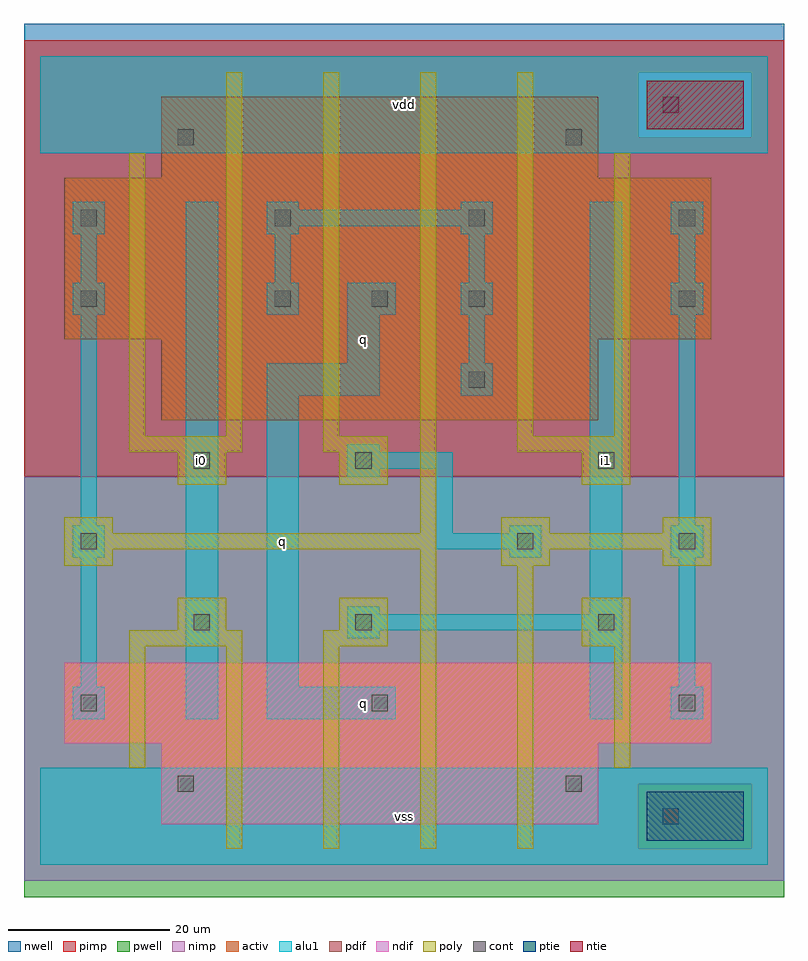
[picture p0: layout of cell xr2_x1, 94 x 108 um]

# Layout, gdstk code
import gdstk
lib = gdstk.Library(unit=1e-6, precision=1e-09)
def R(c, l, rs):  # rectangles x0, y0, x1, y1
    for r in rs: c.add(gdstk.rectangle(r[:2], r[2:], *l))
def A(c, l, x, y, w, h, nx, ny, dx, dy):  # array of equal rectangles
    R(c, l, [(x+i*dx, y+j*dy, x+i*dx+w, y+j*dy+h) for i in range(nx) for j in range(ny)])
ndif = (3, 0)
pdif = (4, 0)
ntie = (5, 0)
ptie = (6, 0)
cont = (25, 0)
pwell = (41, 0)
nwell = (42, 0)
activ = (43, 0)
pimp = (44, 0)
nimp = (45, 0)
poly = (46, 0)
alu1 = (49, 0)

xr2_x1 = lib.new_cell('xr2_x1')
R(xr2_x1, ndif, [(15,5,69,15), (3,15,83,25)])
R(xr2_x1, pdif, [(15,55,69,65), (3,65,83,85), (15,85,69,95)])
R(xr2_x1, ntie, [(75,91,87,97)])
R(xr2_x1, ptie, [(75,3,87,9)])
A(xr2_x1, cont, 29, 69, 2, 2, 3, 1, 12, 0)
A(xr2_x1, cont, 5, 79, 2, 2, 3, 1, 24, 0)
R(xr2_x1, cont, [(77,5,79,7), (17,9,19,11), (65,9,67,11), (5,19,7,21), (41,19,43,21), (79,19,81,21), (19,29,21,31), (39,29,41,31), (69,29,71,31), (5,39,7,41), (59,39,61,41), (79,39,81,41), (19,49,21,51), (39,49,41,51), (69,49,71,51), (53,59,55,61), (5,69,7,71), (79,69,81,71), (79,79,81,81), (17,89,19,91), (65,89,67,91), (77,93,79,95)])
R(xr2_x1, pwell, [(-2,-4,92,48)])
R(xr2_x1, nwell, [(-2,48,92,104)])
R(xr2_x1, activ, [(75,3,87,9), (15,5,69,15), (3,15,83,25), (15,55,69,65), (3,65,83,85), (15,85,69,95), (75,91,87,97)])
R(xr2_x1, pimp, [(74,2,88,10), (-2,48,92,90), (-2,90,74,98), (88,90,92,98), (-2,98,92,102)])
R(xr2_x1, nimp, [(-2,-2,92,2), (-2,2,74,10), (88,2,92,10), (-2,10,92,48), (74,90,88,98)])
R(xr2_x1, poly, [(23,2,25,27), (35,2,37,27), (47,2,49,39), (59,2,61,37), (11,12,13,27), (71,12,73,27), (11,27,25,29), (35,27,43,29), (67,27,73,33), (17,29,23,33), (37,29,43,33), (3,37,9,39), (57,37,63,39), (77,37,83,39), (3,39,49,41), (57,39,83,41), (3,41,9,43), (47,41,49,98), (57,41,63,43), (77,41,83,43), (17,47,23,51), (37,47,43,51), (67,47,73,51), (11,51,25,53), (35,51,43,53), (59,51,73,53), (11,53,13,88), (23,53,25,98), (35,53,37,98), (59,53,61,98), (71,53,73,88)])
A(xr2_x1, alu1, 4, 68, 4, 4, 3, 1, 24, 0)
A(xr2_x1, alu1, 5, 72, 2, 6, 3, 1, 24, 0)
R(xr2_x1, alu1, [(0,0,90,12), (4,18,8,22), (18,18,22,82), (28,18,44,22), (68,18,72,29), (78,18,82,22), (5,22,7,38), (28,22,32,58), (79,22,81,38), (38,28,42,29), (38,29,72,31), (38,31,42,32), (68,31,72,82), (4,38,8,42), (58,38,62,39), (78,38,82,42), (49,39,62,41), (49,41,51,49), (58,41,62,42), (5,42,7,68), (79,42,81,68), (38,48,42,49), (38,49,51,51), (38,51,42,52), (28,58,42,62), (52,58,56,62), (38,62,42,68), (53,62,55,68), (38,68,44,72), (78,68,82,72), (79,72,81,78), (4,78,8,82), (28,78,32,79), (52,78,56,79), (78,78,82,82), (28,79,56,81), (28,81,32,82), (52,81,56,82), (0,88,90,100)])
xr2_x1.add(gdstk.Label('q', (40,20), layer=49, texttype=0))
xr2_x1.add(gdstk.Label('q', (30,40), layer=49, texttype=0))
xr2_x1.add(gdstk.Label('i0', (20,50), layer=49, texttype=0))
xr2_x1.add(gdstk.Label('q', (40,65), layer=49, texttype=0))
xr2_x1.add(gdstk.Label('vss', (45,6), layer=49, texttype=0))
xr2_x1.add(gdstk.Label('vdd', (45,94), layer=49, texttype=0))
xr2_x1.add(gdstk.Label('i1', (70,50), layer=49, texttype=0))

lib.write_gds('xr2_x1.gds')
